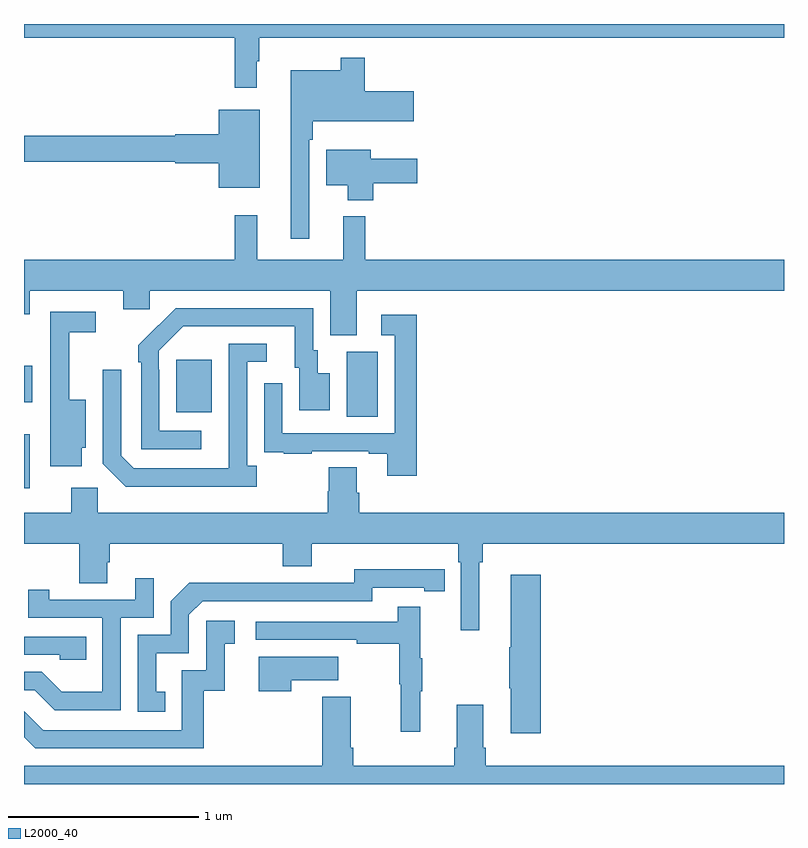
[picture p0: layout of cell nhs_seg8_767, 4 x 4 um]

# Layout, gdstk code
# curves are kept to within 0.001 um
import gdstk
lib = gdstk.Library(unit=1e-6, precision=1e-09)
def R(c, l, rs):  # rectangles x0, y0, x1, y1
    for r in rs: c.add(gdstk.rectangle(r[:2], r[2:], *l))
def P(c, l, *ps):  # polygons
    for p in ps: c.add(gdstk.Polygon(p, *l))
L2000_40 = (2000, 40)

nhs_seg8_767 = lib.new_cell('nhs_seg8_767')
R(nhs_seg8_767, L2000_40, [(161,1119.456,161.029,1119.742), (162.698,1119.832,162.862,1120.176), (161.801,1119.857,161.989,1120.132), (161,1119.908,161.044,1120.102)])
P(nhs_seg8_767, L2000_40, [(162.226,1121.705),(162.238,1121.705),(162.238,1121.828),(165,1121.828),(165,1121.9),(161,1121.9),(161,1121.828),(162.109,1121.828),(162.109,1121.565),(162.226,1121.565)],
  [(162.501,1121.291),(162.521,1121.291),(162.521,1121.387),(163.051,1121.387),(163.051,1121.545),(162.794,1121.545),(162.794,1121.722),(162.666,1121.722),(162.666,1121.656),(162.404,1121.656),(162.404,1120.77),(162.501,1120.77)],
  [(162.241,1121.449),(162.026,1121.449),(162.026,1121.32),(161.796,1121.32),(161.796,1121.312),(161,1121.312),(161,1121.176),(161.796,1121.176),(161.796,1121.168),(162.026,1121.168),(162.026,1121.039),(162.241,1121.039)],
  [(162.839,1121.062),(163.069,1121.062),(163.069,1121.191),(162.826,1121.191),(162.826,1121.239),(162.59,1121.239),(162.59,1121.051),(162.704,1121.051),(162.704,1120.973),(162.839,1120.973)],
  [(161,1120.372),(161.029,1120.372),(161.029,1120.496),(161.522,1120.496),(161.522,1120.398),(161.661,1120.398),(161.661,1120.496),(162.611,1120.496),(162.611,1120.261),(162.751,1120.261),(162.751,1120.496),(165,1120.496),(165,1120.66),(162.797,1120.66),(162.797,1120.888),(162.68,1120.888),(162.68,1120.66),(162.227,1120.66),(162.227,1120.894),(162.109,1120.894),(162.109,1120.66),(161,1120.66)],
  [(161.932,1119.759),(161.712,1119.759),(161.712,1120.079),(161.709,1120.079),(161.709,1120.179),(161.838,1120.308),(162.425,1120.308),(162.425,1120.092),(162.449,1120.092),(162.449,1119.867),(162.61,1119.867),(162.61,1120.063),(162.547,1120.063),(162.547,1120.182),(162.522,1120.182),(162.522,1120.404),(161.798,1120.404),(161.601,1120.209),(161.601,1120.121),(161.616,1120.121),(161.616,1119.663),(161.932,1119.663)],
  [(161.305,1119.669),(161.326,1119.669),(161.326,1119.922),(161.237,1119.922),(161.237,1120.278),(161.377,1120.278),(161.377,1120.386),(161.139,1120.386),(161.139,1119.572),(161.305,1119.572)],
  [(163.067,1120.369),(162.879,1120.369),(162.879,1120.263),(162.951,1120.263),(162.951,1119.747),(162.36,1119.747),(162.36,1120.009),(162.264,1120.009),(162.264,1119.754),(162.265,1119.754),(162.265,1119.645),(162.367,1119.645),(162.367,1119.639),(162.515,1119.639),(162.515,1119.651),(162.815,1119.651),(162.815,1119.639),(162.911,1119.639),(162.911,1119.522),(163.067,1119.522)],
  [(162.226,1119.574),(162.174,1119.574),(162.174,1120.122),(162.277,1120.122),(162.277,1120.218),(162.078,1120.218),(162.077,1119.561),(161.577,1119.561),(161.511,1119.627),(161.511,1120.081),(161.415,1120.081),(161.415,1119.585),(161.536,1119.464),(162.226,1119.464)],
  [(163.396,1119.068),(163.415,1119.068),(163.415,1119.164),(165,1119.164),(165,1119.328),(162.764,1119.328),(162.764,1119.434),(162.751,1119.434),(162.751,1119.566),(162.604,1119.566),(162.604,1119.441),(162.599,1119.441),(162.599,1119.328),(161.388,1119.328),(161.388,1119.46),(161.249,1119.46),(161.249,1119.328),(161,1119.328),(161,1119.164),(161.29,1119.164),(161.29,1118.956),(161.437,1118.956),(161.437,1119.066),(161.45,1119.066),(161.45,1119.164),(162.362,1119.164),(162.362,1119.047),(162.514,1119.047),(162.514,1119.164),(163.286,1119.164),(163.286,1119.068),(163.299,1119.068),(163.299,1118.709),(163.396,1118.709)],
  [(161.744,1118.385),(161.695,1118.385),(161.695,1118.589),(161.868,1118.589),(161.868,1118.79),(161.94,1118.862),(162.834,1118.862),(162.834,1118.934),(163.106,1118.934),(163.106,1118.914),(163.214,1118.914),(163.214,1119.03),(162.738,1119.031),(162.738,1118.958),(162.278,1118.958),(162.278,1118.96),(161.87,1118.96),(161.772,1118.862),(161.772,1118.685),(161.598,1118.685),(161.598,1118.28),(161.744,1118.28)],
  [(163.721,1119.001),(163.562,1119.001),(163.562,1118.621),(163.555,1118.621),(163.555,1118.404),(163.562,1118.404),(163.562,1118.166),(163.721,1118.166)],
  [(161.508,1118.775),(161.682,1118.775),(161.682,1118.983),(161.585,1118.983),(161.585,1118.871),(161.134,1118.871),(161.134,1118.923),(161.023,1118.923),(161.023,1118.775),(161.412,1118.775),(161.412,1118.386),(161.198,1118.386),(161.094,1118.49),(161,1118.49),(161,1118.394),(161.057,1118.394),(161.162,1118.289),(161.508,1118.289)],
  [(163.085,1118.387),(163.096,1118.387),(163.096,1118.561),(163.085,1118.561),(163.085,1118.833),(162.967,1118.833),(162.967,1118.754),(162.219,1118.754),(162.219,1118.658),(162.751,1118.658),(162.751,1118.638),(162.975,1118.638),(162.975,1118.424),(162.982,1118.424),(162.982,1118.175),(163.085,1118.175)],
  [(161.945,1118.391),(162.056,1118.391),(162.056,1118.637),(162.109,1118.637),(162.109,1118.758),(161.958,1118.758),(161.958,1118.499),(161.829,1118.499),(161.829,1118.184),(161.1,1118.184),(161,1118.284),(161,1118.146),(161.058,1118.088),(161.945,1118.088)],
  [(161.327,1118.676),(161,1118.676),(161,1118.58),(161.187,1118.58),(161.187,1118.553),(161.327,1118.553)],
  [(162.407,1118.447),(162.655,1118.447),(162.655,1118.569),(162.236,1118.569),(162.236,1118.388),(162.407,1118.388)],
  [(165,1117.996),(163.43,1117.996),(163.43,1118.092),(163.417,1118.092),(163.417,1118.317),(163.277,1118.317),(163.277,1118.092),(163.265,1118.092),(163.265,1117.996),(162.734,1117.996),(162.734,1118.092),(162.721,1118.092),(162.721,1118.359),(162.569,1118.359),(162.569,1117.996),(161,1117.996),(161,1117.9),(165,1117.9)])

lib.write_gds('nhs_seg8_767.gds')
